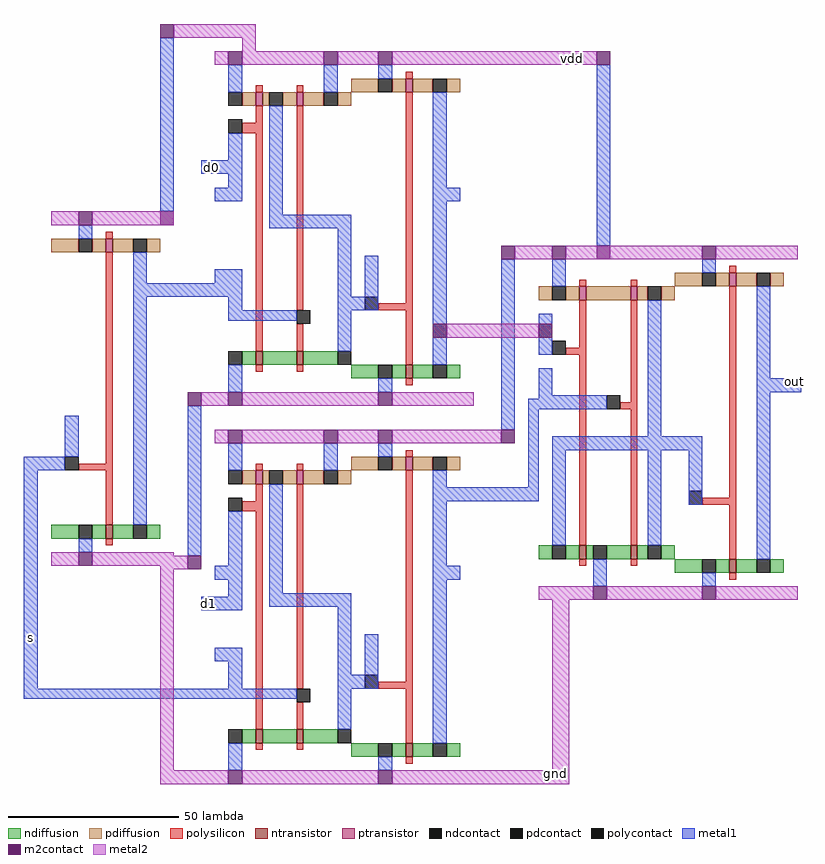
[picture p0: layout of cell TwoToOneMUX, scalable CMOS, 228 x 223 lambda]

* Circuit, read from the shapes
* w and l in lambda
.subckt TwoToOneMUX d0 d1 gnd out s vdd
M1 and_0/b s gnd VSUBS nfet w=4 l=2
M2 n1 d1 gnd VSUBS nfet w=4 l=2
M3 n2 d0 gnd VSUBS nfet w=4 l=2
M4 and_1/not_0/i s n1 VSUBS nfet w=4 l=2
M5 and_0/not_0/i and_0/b n2 VSUBS nfet w=4 l=2
M6 and_1/o and_1/not_0/i gnd VSUBS nfet w=4 l=2
M7 and_0/o and_0/not_0/i gnd VSUBS nfet w=4 l=2
M8 gnd and_0/o or_0/not_0/i VSUBS nfet w=4 l=2
M9 or_0/not_0/i and_1/o gnd VSUBS nfet w=4 l=2
M10 out or_0/not_0/i gnd VSUBS nfet w=4 l=2
M11 and_0/b s vdd NWELL pfet w=4 l=2
M12 and_1/not_0/i d1 vdd NWELL pfet w=4 l=2
M13 and_0/not_0/i d0 vdd NWELL pfet w=4 l=2
M14 vdd s and_1/not_0/i NWELL pfet w=4 l=2
M15 vdd and_0/b and_0/not_0/i NWELL pfet w=4 l=2
M16 and_1/o and_1/not_0/i vdd NWELL pfet w=4 l=2
M17 and_0/o and_0/not_0/i vdd NWELL pfet w=4 l=2
M18 n3 and_0/o vdd NWELL pfet w=4 l=2
M19 or_0/not_0/i and_1/o n3 NWELL pfet w=4 l=2
M20 out or_0/not_0/i vdd NWELL pfet w=4 l=2
.ends

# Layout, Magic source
magic
tech scmos
<< metal1 >>
rect -20 57 -16 108
rect -8 68 0 72
rect 108 47 112 100
rect -24 32 0 36
rect -60 -19 -48 -15
rect -60 -83 -56 -19
rect -12 -44 -8 0
rect 80 -7 84 43
rect 159 4 168 8
rect 88 -24 91 2
rect 64 -28 91 -24
rect 0 -56 4 -51
rect -8 -60 4 -56
rect -60 -86 0 -83
<< metal2 >>
rect -16 108 8 112
rect 4 104 8 108
rect 72 100 108 104
rect 84 43 95 47
rect 64 20 91 24
rect -8 0 0 4
rect 72 -11 80 -7
rect -16 -47 -12 -44
rect -20 -48 -12 -47
rect -20 -107 -16 -48
rect 95 -107 100 -57
rect -20 -111 0 -107
rect 72 -111 100 -107
<< m2contact >>
rect -20 108 -16 112
rect 108 100 112 104
rect -20 53 -16 57
rect 80 43 84 47
rect 108 43 112 47
rect 60 20 64 24
rect -12 0 -8 4
rect 91 20 95 24
rect 80 -11 84 -7
rect -12 -48 -8 -44
use and  and_0
transform 1 0 0 0 1 0
box 0 0 72 104
use and  and_1
transform 1 0 0 0 1 -111
box 0 0 72 104
use not  not_0
transform 1 0 -56 0 1 -47
box 8 0 40 104
use or  or_0
transform 1 0 91 0 1 -57
box 0 0 76 104
<< labels >>
rlabel metal1 -5 70 -5 70 1 d0
rlabel metal1 -6 -58 -6 -58 1 d1
rlabel metal1 -58 -68 -58 -68 3 s
rlabel metal1 166 7 166 7 7 out
rlabel metal2 101 102 101 102 1 vdd
rlabel metal2 96 -108 96 -108 1 gnd
<< end >>

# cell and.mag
magic
tech scmos
<< metal1 >>
rect -4 60 0 64
rect 64 60 68 64
rect -4 36 0 40
rect 36 28 44 32
<< metal2 >>
rect -4 100 0 104
rect -4 0 0 4
use nand  nand_0
transform 1 0 -4 0 1 0
box 4 0 44 104
use not  not_0
transform 1 0 32 0 1 0
box 8 0 40 104
<< labels >>
rlabel metal2 -2 102 -2 102 4 vdd
rlabel metal1 -2 62 -2 62 3 a
rlabel metal2 -2 2 -2 2 2 gnd
rlabel metal1 66 62 66 62 1 o
rlabel metal1 -2 38 -2 38 3 b
<< end >>

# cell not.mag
magic
tech scmos
<< polysilicon >>
rect 20 96 22 98
rect 20 30 22 92
rect 12 28 22 30
rect 20 12 22 28
rect 20 6 22 8
<< ndiffusion >>
rect 4 8 12 12
rect 16 8 20 12
rect 22 8 28 12
rect 32 8 36 12
<< pdiffusion >>
rect 4 92 12 96
rect 16 92 20 96
rect 22 92 28 96
rect 32 92 36 96
<< metal1 >>
rect 12 96 16 100
rect 8 32 12 44
rect 28 12 32 92
rect 12 4 16 8
<< metal2 >>
rect 4 100 12 104
rect 16 100 40 104
rect 4 0 12 4
rect 16 0 40 4
<< ntransistor >>
rect 20 8 22 12
<< ptransistor >>
rect 20 92 22 96
<< polycontact >>
rect 8 28 12 32
<< ndcontact >>
rect 12 8 16 12
rect 28 8 32 12
<< pdcontact >>
rect 12 92 16 96
rect 28 92 32 96
<< m2contact >>
rect 12 100 16 104
rect 12 0 16 4
<< labels >>
rlabel metal2 6 2 6 2 2 gnd
rlabel metal2 6 102 6 102 4 vdd
rlabel polysilicon 21 64 21 64 1 i
rlabel metal1 30 63 30 63 1 o
<< end >>

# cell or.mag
magic
tech scmos
<< metal1 >>
rect 40 44 48 48
rect 44 28 48 44
use nor  nor_0
transform 1 0 0 0 1 0
box 0 0 44 104
use not  not_0
transform 1 0 36 0 1 0
box 8 0 40 104
<< end >>

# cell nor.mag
magic
tech scmos
<< polysilicon >>
rect 12 92 14 94
rect 27 92 29 94
rect 12 74 14 88
rect 8 72 14 74
rect 12 16 14 72
rect 27 58 29 88
rect 24 56 29 58
rect 27 16 29 56
rect 12 10 14 12
rect 27 10 29 12
<< ndiffusion >>
rect 0 12 4 16
rect 8 12 12 16
rect 14 12 16 16
rect 20 12 27 16
rect 29 12 32 16
rect 36 12 40 16
<< pdiffusion >>
rect 0 88 4 92
rect 8 88 12 92
rect 14 88 27 92
rect 29 88 32 92
rect 36 88 40 92
<< metal1 >>
rect 4 92 8 100
rect 0 72 4 84
rect 0 60 4 68
rect 0 56 20 60
rect 32 48 36 88
rect 4 44 44 48
rect 4 16 8 44
rect 32 16 36 44
rect 16 4 20 12
<< metal2 >>
rect 0 100 4 104
rect 8 100 44 104
rect 0 0 16 4
rect 20 0 44 4
<< ntransistor >>
rect 12 12 14 16
rect 27 12 29 16
<< ptransistor >>
rect 12 88 14 92
rect 27 88 29 92
<< polycontact >>
rect 4 72 8 76
rect 20 56 24 60
<< ndcontact >>
rect 4 12 8 16
rect 16 12 20 16
rect 32 12 36 16
<< pdcontact >>
rect 4 88 8 92
rect 32 88 36 92
<< m2contact >>
rect 4 100 8 104
rect 16 0 20 4
<< labels >>
rlabel metal2 2 102 2 102 4 vdd
rlabel metal1 2 82 2 82 3 a
rlabel metal1 2 66 2 66 3 b
rlabel metal1 42 46 42 46 7 o
rlabel metal2 2 2 2 2 2 gnd
<< end >>

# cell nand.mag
magic
tech scmos
<< polysilicon >>
rect 12 92 14 94
rect 24 92 26 94
rect 12 83 14 88
rect 8 80 14 83
rect 12 16 14 80
rect 24 28 26 88
rect 24 16 26 24
rect 12 10 14 12
rect 24 10 26 12
<< ndiffusion >>
rect 8 12 12 16
rect 14 12 24 16
rect 26 12 36 16
<< pdiffusion >>
rect 8 88 12 92
rect 14 88 16 92
rect 20 88 24 92
rect 26 88 32 92
rect 36 88 40 92
<< metal1 >>
rect 4 92 8 100
rect 32 92 36 100
rect 4 60 8 80
rect 16 56 20 88
rect 16 52 40 56
rect 4 28 8 40
rect 4 25 24 28
rect 36 16 40 52
rect 4 4 8 12
<< metal2 >>
rect 8 100 32 104
rect 36 100 44 104
rect 8 0 44 4
<< ntransistor >>
rect 12 12 14 16
rect 24 12 26 16
<< ptransistor >>
rect 12 88 14 92
rect 24 88 26 92
<< polycontact >>
rect 4 80 8 84
rect 24 24 28 28
<< ndcontact >>
rect 4 12 8 16
rect 36 12 40 16
<< pdcontact >>
rect 4 88 8 92
rect 16 88 20 92
rect 32 88 36 92
<< m2contact >>
rect 4 100 8 104
rect 32 100 36 104
rect 4 0 8 4
<< end >>
